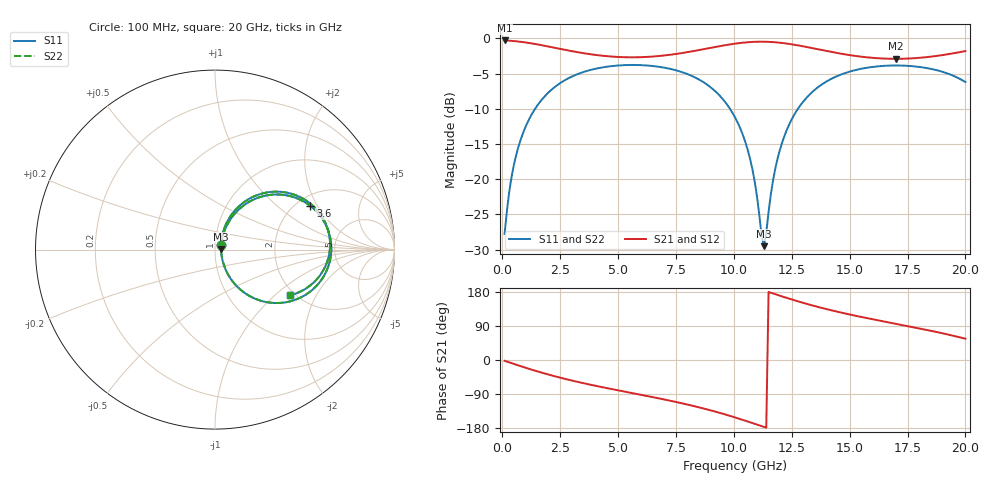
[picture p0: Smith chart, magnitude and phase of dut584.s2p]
! Touchstone file exported from HFSS 2026.1.0
!  File:  C:/ffzhzh/LocalFiles/Ansys_Project_Files/temp_train_TSV_RDL_584_1783119446_53076.aedt
!  Generated:  07:09:43 AM Jul  4, 2026
!  Design:  TSV_RDL
!  Project:  temp_train_TSV_RDL_584_1783119446_53076
! Variables:
!  h_bsmrdl = 2.27um
!  h_ox = 20um
!  h_rdl = 5um
!  h_sub = 75.2um
!  h_tmrdl = 4.28um
!  h_tsv = 75.2um
!  h_via = 3um
!  l_bsmrdl = 499.39um
!  l_sub = 5278.84um
!  l_tmrdl = 821.37um
!  m_sub = 200um
!  pitch = 56.65um
!  r_tsv = 10.74um
!  s_tmrdl = 10um
!  w_bsmrdl = 17.19um
!  w_sub = 500um
!  w_tmrdl = 14.54um
!  x_tsv_center1 = 828.64um
!  x_tsv_center2 = 1345.22um
!  x_tsv_center3 = 2181.13um
!  x_tsv_center4 = 2697.71um
!  x_tsv_center5 = 3533.62um
!  x_tsv_center6 = 4050.2um
# GHz S MA R 50.000000
! Terminal data exported
! Port[1] = TM_RDL1_1_T1
! Port[2] = TM_RDL5_1_T1
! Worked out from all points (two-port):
!   200 points, 100 MHz to 20 GHz, reference 50 ohm
!   highest |S21| = -0.29 dB at 100 MHz (marker M1); lowest = -2.9 dB at 17 GHz (marker M2)
!   |S21| within 3 dB of the highest: start of sweep to end of sweep
!   lowest |S11| = -29.5 dB at 11.3 GHz (marker M3), VSWR 1.07, Z = 53.4 + j0.322 ohm
!   |S11| at or under -10 dB: start of sweep to 1.416 GHz; 9.833 GHz to 12.77 GHz (2.935 GHz wide, 26 % of centre)
!   |S22| runs from -29.5 to -3.8 dB; largest |S21 - S12| = 1.6e-14
!   S11 on the Smith chart (normalised r, x): 100 MHz: 1.07, +0.05; 3.6 GHz: 2.36, +1.74; 20 GHz: 1.89, -1.27
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0.1  0.0409 35.9  0.9674 -2.1  0.9674 -2.1  0.0409 35.9
! Gamma 0 0 0 0
! Port Impedance 50 0 50 0
0.3  0.08149 59.4  0.9638 -6.3  0.9638 -6.3  0.08149 59.4
0.5  0.1263 63.6  0.958 -10.4  0.958 -10.4  0.1263 63.6
1.1  0.2551 59.6  0.9315 -22.3  0.9315 -22.3  0.2551 59.6
2.1  0.4288 45.2  0.869 -40.2  0.869 -40.2  0.4288 45.2
3.5  0.5771 25.9  0.7858 -61.2  0.7858 -61.2  0.5771 25.9
3.6  0.584 24.6  0.7811 -62.5  0.7811 -62.5  0.584 24.7
5.2  0.6454 5.7  0.7363 -82.5  0.7363 -82.5  0.6454 5.7
6.8  0.6277 -12.6  0.751 -101.7  0.751 -101.7  0.6277 -12.5
8.7  0.4877 -37.1  0.839 -128.1  0.839 -128.1  0.4877 -37.1
10.1  0.2655 -57.5  0.9205 -152.5  0.9205 -152.5  0.2655 -57.5
10.8  0.1181 -61.7  0.9444 -166.3  0.9444 -166.3  0.1182 -61.6
11.3  0.03348 5.2  0.9479 -176.5  0.9479 -176.5  0.03367 5.2
11.7  0.09968 64.5  0.9416 175.4  0.9416 175.4  0.09977 64.4
12.1  0.1853 66.0  0.928 167.5  0.928 167.5  0.1854 66.0
12.7  0.304 59.0  0.8971 156.1  0.8971 156.1  0.304 59.0
13.4  0.4185 48.9  0.8529 143.8  0.8529 143.8  0.4185 48.9
15.1  0.5875 26.2  0.757 118.8  0.757 118.8  0.5875 26.3
16.7  0.6412 7.9  0.7175 99.1  0.7175 99.1  0.6411 7.9
17  0.6425 4.6  0.7165 95.5  0.7165 95.5  0.6425 4.6
18.5  0.6086 -12.4  0.7418 77.2  0.7418 77.2  0.6086 -12.3
20  0.4903 -31.2  0.813 56.2  0.813 56.2  0.4903 -31.1
